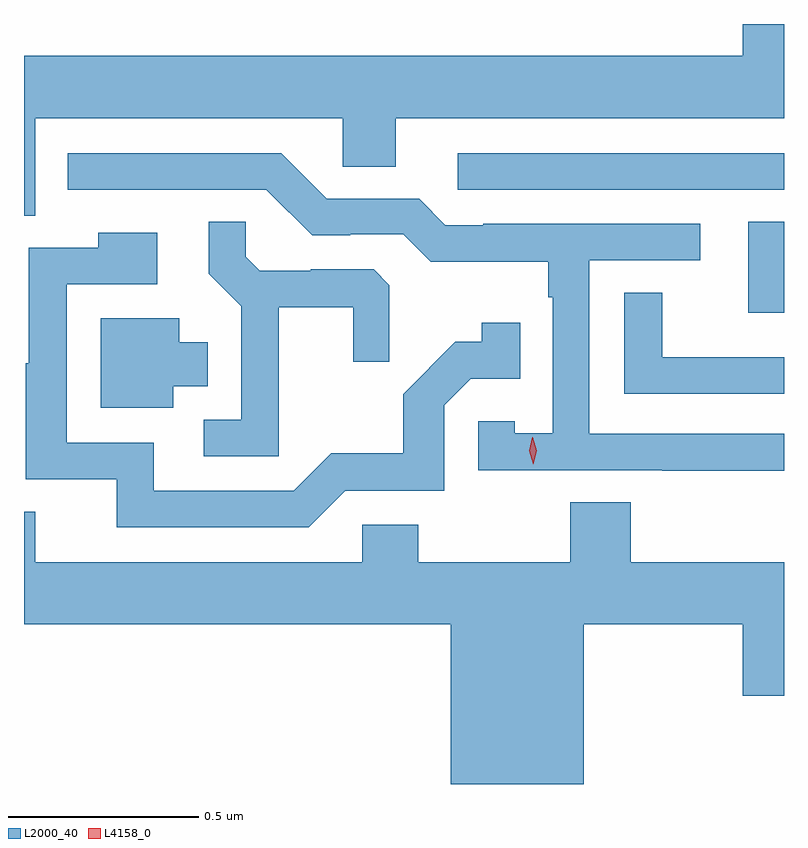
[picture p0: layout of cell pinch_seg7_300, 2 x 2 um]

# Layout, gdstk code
import gdstk
lib = gdstk.Library(unit=1e-6, precision=1e-09)
def R(c, l, rs):  # rectangles x0, y0, x1, y1
    for r in rs: c.add(gdstk.rectangle(r[:2], r[2:], *l))
def P(c, l, *ps):  # polygons
    for p in ps: c.add(gdstk.Polygon(p, *l))
L2000_40 = (2000, 40)
L4158_0 = (4158, 0)

pinch_seg7_300 = lib.new_cell('pinch_seg7_300')
R(pinch_seg7_300, L2000_40, [(572.615,1078.692,572.709,1078.931), (571.851,1079.016,572.709,1079.112)])
P(pinch_seg7_300, L2000_40, [(570.739,1079.204),(571.548,1079.204),(571.548,1079.077),(571.687,1079.077),(571.687,1079.204),(572.709,1079.204),(572.709,1079.452),(572.6,1079.452),(572.6,1079.368),(570.709,1079.368),(570.709,1078.948),(570.739,1078.948)],
  [(572.709,1078.374),(572.196,1078.374),(572.196,1078.83),(572.488,1078.83),(572.488,1078.926),(571.918,1078.926),(571.918,1078.923),(571.818,1078.923),(571.749,1078.992),(571.506,1078.992),(571.386,1079.112),(570.824,1079.112),(570.824,1079.016),(571.347,1079.016),(571.467,1078.896),(571.568,1078.896),(571.568,1078.899),(571.707,1078.899),(571.78,1078.826),(572.088,1078.826),(572.088,1078.733),(572.1,1078.733),(572.1,1078.375),(572.001,1078.375),(572.001,1078.407),(571.905,1078.407),(571.905,1078.278),(572.389,1078.278),(572.389,1078.276),(572.709,1078.276)],
  [(571.379,1078.706),(571.576,1078.706),(571.576,1078.563),(571.67,1078.563),(571.67,1078.765),(571.629,1078.806),(571.464,1078.806),(571.464,1078.803),(571.33,1078.803),(571.293,1078.84),(571.293,1078.931),(571.195,1078.931),(571.195,1078.795),(571.281,1078.709),(571.281,1078.41),(571.182,1078.41),(571.182,1078.314),(571.379,1078.314)],
  [(571.554,1078.224),(571.815,1078.224),(571.815,1078.449),(571.884,1078.518),(572.015,1078.518),(572.015,1078.666),(571.914,1078.666),(571.914,1078.616),(571.844,1078.616),(571.707,1078.478),(571.707,1078.323),(571.518,1078.323),(571.419,1078.224),(571.051,1078.224),(571.051,1078.35),(570.822,1078.35),(570.822,1078.767),(571.06,1078.767),(571.06,1078.903),(570.904,1078.903),(570.904,1078.863),(570.721,1078.863),(570.721,1078.559),(570.714,1078.559),(570.714,1078.254),(570.953,1078.254),(570.953,1078.128),(571.458,1078.128)],
  [(572.709,1078.575),(572.388,1078.575),(572.388,1078.745),(572.289,1078.745),(572.289,1078.479),(572.709,1078.479)],
  [(571.102,1078.499),(571.192,1078.499),(571.192,1078.615),(571.117,1078.615),(571.117,1078.678),(570.911,1078.678),(570.911,1078.442),(571.102,1078.442)],
  [(572.182,1077.872),(572.6,1077.872),(572.6,1077.684),(572.709,1077.684),(572.709,1078.036),(572.306,1078.036),(572.306,1078.193),(572.146,1078.193),(572.146,1078.036),(571.746,1078.036),(571.746,1078.134),(571.599,1078.134),(571.599,1078.036),(570.739,1078.036),(570.739,1078.169),(570.709,1078.169),(570.709,1077.872),(571.832,1077.872),(571.832,1077.452),(572.182,1077.452)])
P(pinch_seg7_300, L4158_0, [(572.049,1078.293),(572.049,1078.294),(572.038,1078.329),(572.047,1078.365),(572.047,1078.365),(572.048,1078.365),(572.058,1078.329),(572.049,1078.294)])

lib.write_gds('pinch_seg7_300.gds')
